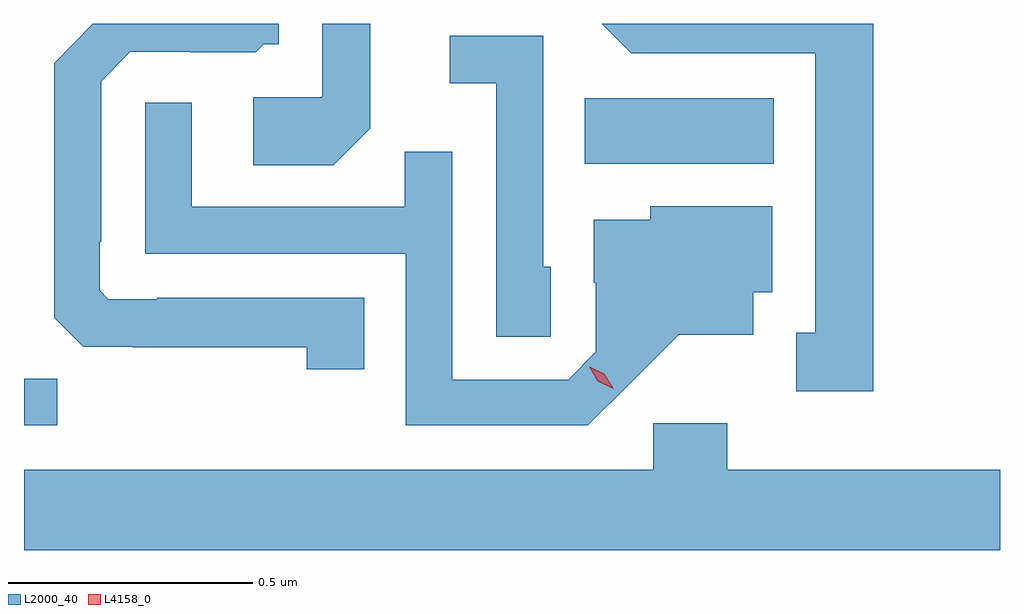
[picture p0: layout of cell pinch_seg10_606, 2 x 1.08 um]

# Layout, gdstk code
import gdstk
lib = gdstk.Library(unit=1e-6, precision=1e-09)
def R(c, l, rs):  # rectangles x0, y0, x1, y1
    for r in rs: c.add(gdstk.rectangle(r[:2], r[2:], *l))
def P(c, l, *ps):  # polygons
    for p in ps: c.add(gdstk.Polygon(p, *l))
L2000_40 = (2000, 40)
L4158_0 = (4158, 0)

pinch_seg10_606 = lib.new_cell('pinch_seg10_606')
R(pinch_seg10_606, L2000_40, [(382.639,1260.612,382.707,1260.707), (383.788,1261.148,384.175,1261.282)])
P(pinch_seg10_606, L2000_40, [(383.336,1260.873),(382.912,1260.873),(382.912,1260.87),(382.812,1260.87),(382.794,1260.888),(382.794,1260.988),(382.797,1260.988),(382.797,1261.317),(382.857,1261.377),(382.98,1261.377),(382.98,1261.376),(383.114,1261.376),(383.13,1261.392),(383.161,1261.392),(383.161,1261.434),(382.78,1261.434),(382.701,1261.354),(382.701,1260.832),(382.76,1260.773),(382.861,1260.773),(382.861,1260.772),(383.218,1260.772),(383.218,1260.726),(383.336,1260.726)],
  [(383.349,1261.22),(383.349,1261.434),(383.25,1261.434),(383.25,1261.284),(383.109,1261.284),(383.109,1261.144),(383.273,1261.144)],
  [(384.379,1261.434),(383.823,1261.434),(383.883,1261.374),(384.26,1261.374),(384.26,1260.801),(384.221,1260.801),(384.221,1260.681),(384.379,1260.681)],
  [(383.718,1260.936),(383.703,1260.936),(383.703,1261.41),(383.511,1261.41),(383.511,1261.313),(383.607,1261.313),(383.607,1260.793),(383.718,1260.793)],
  [(383.878,1260.695),(383.981,1260.797),(384.133,1260.797),(384.133,1260.884),(384.172,1260.884),(384.172,1261.06),(383.922,1261.06),(383.922,1261.033),(383.807,1261.033),(383.807,1260.904),(383.811,1260.904),(383.811,1260.762),(383.754,1260.705),(383.517,1260.705),(383.517,1261.172),(383.419,1261.172),(383.419,1261.059),(382.983,1261.059),(382.983,1261.273),(382.887,1261.273),(382.887,1260.963),(383.421,1260.963),(383.421,1260.612),(383.794,1260.612)],
  [(384.639,1260.52),(384.08,1260.52),(384.08,1260.616),(383.928,1260.616),(383.928,1260.52),(382.639,1260.52),(382.639,1260.356),(384.639,1260.356)])
P(pinch_seg10_606, L4158_0, [(383.846,1260.687),(383.815,1260.702),(383.797,1260.732),(383.797,1260.732),(383.798,1260.732),(383.828,1260.717),(383.846,1260.688),(383.846,1260.687)])

lib.write_gds('pinch_seg10_606.gds')
